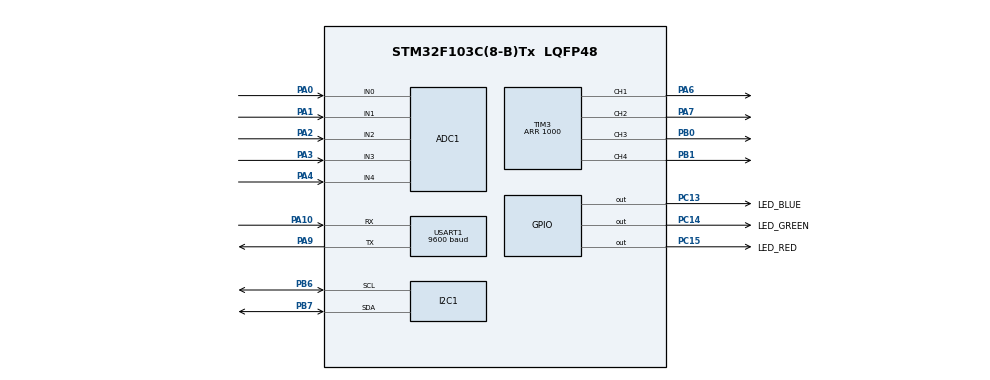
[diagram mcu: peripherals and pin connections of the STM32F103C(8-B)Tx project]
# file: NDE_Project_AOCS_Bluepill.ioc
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ADC1.Channel-0\#ChannelRegularConversion=ADC_CHANNEL_0
ADC1.Channel-1\#ChannelRegularConversion=ADC_CHANNEL_1
ADC1.Channel-2\#ChannelRegularConversion=ADC_CHANNEL_2
ADC1.Channel-3\#ChannelRegularConversion=ADC_CHANNEL_3
ADC1.Channel-4\#ChannelRegularConversion=ADC_CHANNEL_4
ADC1.ContinuousConvMode=DISABLE
ADC1.DataAlign=ADC_DATAALIGN_RIGHT
ADC1.DiscontinuousConvMode=DISABLE
ADC1.NbrOfConversion=5
ADC1.NbrOfConversionFlag=1
ADC1.Rank-0\#ChannelRegularConversion=1
ADC1.Rank-1\#ChannelRegularConversion=2
ADC1.Rank-2\#ChannelRegularConversion=3
ADC1.Rank-3\#ChannelRegularConversion=4
ADC1.Rank-4\#ChannelRegularConversion=5
ADC1.SamplingTime-0\#ChannelRegularConversion=ADC_SAMPLETIME_1CYCLE_5
ADC1.SamplingTime-1\#ChannelRegularConversion=ADC_SAMPLETIME_1CYCLE_5
ADC1.SamplingTime-2\#ChannelRegularConversion=ADC_SAMPLETIME_1CYCLE_5
ADC1.SamplingTime-3\#ChannelRegularConversion=ADC_SAMPLETIME_1CYCLE_5
ADC1.SamplingTime-4\#ChannelRegularConversion=ADC_SAMPLETIME_1CYCLE_5
ADC1.master=1
Dma.ADC1.0.Direction=DMA_PERIPH_TO_MEMORY
Dma.ADC1.0.Instance=DMA1_Channel1
Dma.ADC1.0.MemDataAlignment=DMA_MDATAALIGN_HALFWORD
Dma.ADC1.0.MemInc=DMA_MINC_ENABLE
Dma.ADC1.0.Mode=DMA_CIRCULAR
Dma.ADC1.0.PeriphDataAlignment=DMA_PDATAALIGN_HALFWORD
Dma.ADC1.0.PeriphInc=DMA_PINC_DISABLE
Dma.ADC1.0.Priority=DMA_PRIORITY_LOW
Dma.Request0=ADC1
Mcu.Family=STM32F1
Mcu.Name=STM32F103C(8-B)Tx
Mcu.Package=LQFP48
NVIC.ADC1_2_IRQn=true\:0\:0\:false\:false\:true\:true\:true\:true
NVIC.DMA1_Channel1_IRQn=true\:0\:0\:false\:false\:true\:false\:true\:true
NVIC.PriorityGroup=NVIC_PRIORITYGROUP_4
NVIC.TIM2_IRQn=true\:0\:0\:false\:false\:true\:true\:true\:true
NVIC.USART1_IRQn=true\:0\:0\:false\:false\:true\:true\:true\:true
PA0-WKUP.Signal=ADCx_IN0
PA1.Signal=ADCx_IN1
PA10.Mode=Asynchronous
PA10.Signal=USART1_RX
PA2.Signal=ADCx_IN2
PA3.Signal=ADCx_IN3
PA4.Signal=ADCx_IN4
PA6.Signal=S_TIM3_CH1
PA7.Signal=S_TIM3_CH2
PA9.Mode=Asynchronous
PA9.Signal=USART1_TX
PB0.Signal=S_TIM3_CH3
PB1.Signal=S_TIM3_CH4
PB6.Mode=I2C
PB6.Signal=I2C1_SCL
PB7.Mode=I2C
PB7.Signal=I2C1_SDA
PC13-TAMPER-RTC.GPIO_Label=LED_BLUE
PC13-TAMPER-RTC.Signal=GPIO_Output
PC14-OSC32_IN.GPIO_Label=LED_GREEN
PC14-OSC32_IN.Signal=GPIO_Output
PC15-OSC32_OUT.GPIO_Label=LED_RED
PC15-OSC32_OUT.Signal=GPIO_Output
ProjectManager.HeapSize=0x200
ProjectManager.StackSize=0x400
ProjectManager.TargetToolchain=STM32CubeIDE
RCC.APB1Freq_Value=8000000
RCC.APB2Freq_Value=8000000
SH.ADCx_IN0.0=ADC1_IN0,IN0
SH.ADCx_IN1.0=ADC1_IN1,IN1
SH.ADCx_IN2.0=ADC1_IN2,IN2
SH.ADCx_IN3.0=ADC1_IN3,IN3
SH.ADCx_IN4.0=ADC1_IN4,IN4
SH.S_TIM3_CH1.0=TIM3_CH1,PWM Generation1 CH1
SH.S_TIM3_CH2.0=TIM3_CH2,PWM Generation2 CH2
SH.S_TIM3_CH3.0=TIM3_CH3,PWM Generation3 CH3
SH.S_TIM3_CH4.0=TIM3_CH4,PWM Generation4 CH4
TIM2.Period=1001
TIM2.Prescaler=1000
TIM3.Channel-PWM\ Generation1\ CH1=TIM_CHANNEL_1
TIM3.Channel-PWM\ Generation2\ CH2=TIM_CHANNEL_2
TIM3.Channel-PWM\ Generation3\ CH3=TIM_CHANNEL_3
TIM3.Channel-PWM\ Generation4\ CH4=TIM_CHANNEL_4
TIM3.Period=1000
USART1.BaudRate=9600
USART1.VirtualMode=VM_ASYNC
VP_SYS_VS_ND.Mode=No_Debug
VP_TIM2_VS_ClockSourceINT.Mode=Internal
board=custom

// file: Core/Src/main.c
/* USER CODE BEGIN Header */
/**
  ******************************************************************************
  * @file           : main.c
  * @brief          : Main program body
  ******************************************************************************
  * @attention
  *
  * Copyright (c) 2025 STMicroelectronics.
  * All rights reserved.
  *
  * This software is licensed under terms that can be found in the LICENSE file
  * in the root directory of this software component.
  * If no LICENSE file comes with this software, it is provided AS-IS.
  *
  ******************************************************************************
  */
/* USER CODE END Header */
#include "main.h"

/* USER CODE BEGIN Includes */
#include <stdio.h>
#include <string.h>
#include "MPU6050.h"
#include "Fan_Controller.h"
#include "fan_logic.h" // Petr
/* USER CODE END Includes */

ADC_HandleTypeDef hadc1;
DMA_HandleTypeDef hdma_adc1;

I2C_HandleTypeDef hi2c1;

TIM_HandleTypeDef htim2;
TIM_HandleTypeDef htim3;

UART_HandleTypeDef huart1;

void SystemClock_Config(void);
static void MX_GPIO_Init(void);
static void MX_DMA_Init(void);
static void MX_ADC1_Init(void);
static void MX_I2C1_Init(void);
static void MX_TIM3_Init(void);
static void MX_USART1_UART_Init(void);
static void MX_TIM2_Init(void);
/* USER CODE BEGIN PFP */
float fan_speed_1, fan_speed_2 = 0;

#define ROT_THRESHOLD 7.5

void control_rotation(float desired_rotation, float actual_rotation) {
	// Prepracovat ako PID kontroler, ak to nebude fungovat
	if (actual_rotation-desired_rotation > 7.5) {
		fan_speed_1 = -1000;
		fan_speed_2 = -1000;
		set_fan_speed(fan_speed_1);
		set_fan_speed2(fan_speed_2);
	}else if (actual_rotation-desired_rotation < -7.5){
		fan_speed_1 = 1000;
		fan_speed_2 = 1000;
		set_fan_speed(fan_speed_1);
		set_fan_speed2(fan_speed_2);
	}else{
		fan_speed_1 = 0;
		fan_speed_2 = 0;
		set_fan_speed(fan_speed_1);
		set_fan_speed2(fan_speed_2);
	}
}

// ADC cast
uint16_t readValue1;
uint16_t readValue2;
uint16_t readValue3;
uint16_t readValue4;
uint16_t readValue5;

uint16_t rawValues[5];
void HAL_ADC_ConvCpltCallback(ADC_HandleTypeDef *hadc) {
    if (hadc->Instance == ADC1) {
        readValue1 = rawValues[0];
        readValue2 = rawValues[1];
        readValue3 = rawValues[2];
        readValue4 = rawValues[3];
        readValue5 = rawValues[4];
    }
}

/* USER CODE END PFP */

/* USER CODE BEGIN 0 */
float GyroX, GyroY, GyroZ;
float AccelX, AccelY, AccelZ;
float GyroRoll, GyroPitch, AccelRoll, AccelPitch;
uint32_t ch1_counter_val, ch2_counter_val;

// RX buffer for UART
#define RX_BFR_SIZE 100
char RxBuffer[RX_BFR_SIZE];

uint16_t global_mode = 0; // 0 is stabilization, 1 is light tracking, 2 is rotation
/* USER CODE END 0 */

int main(void)
{

  /* MCU Configuration--------------------------------------------------------*/

  /* Reset of all peripherals, Initializes the Flash interface and the Systick. */
  HAL_Init();

  /* Configure the system clock */
  SystemClock_Config();

  /* Initialize all configured peripherals */
  MX_GPIO_Init();
  MX_DMA_Init();
  MX_ADC1_Init();
  MX_I2C1_Init();
  MX_TIM3_Init();
  MX_USART1_UART_Init();
  MX_TIM2_Init();
  /* USER CODE BEGIN 2 */

  HAL_UARTEx_ReceiveToIdle_IT(&huart1, (uint8_t *) RxBuffer, RX_BFR_SIZE);

  // Set up HC05 bluetooth controller
  printf("Setting up Bluetooth module\n");

  // reset module to original state
  char at_orgl[] = "AT+ORGL\r\n";
  HAL_UART_Transmit_IT(&huart1, (uint8_t*)&at_orgl, strlen(at_orgl));

  // set HC06 module name
  char at_set_name[] = "AT+NAME=NDEProjekt\r\n";
  HAL_UART_Transmit_IT(&huart1, (uint8_t*)&at_set_name, strlen(at_set_name));

  MPU6050_t MPU6050;

  // Initialize MPU6050 (see library sample code)
  while (MPU6050_Init(&hi2c1) == 1){
	  printf("Unable to Init MPU6050\n");
  }
  /* USER CODE END 2 */

  /* Infinite loop */
  /* USER CODE BEGIN WHILE */
  HAL_TIM_PWM_Start(&htim3, TIM_CHANNEL_1);
  HAL_TIM_PWM_Start(&htim3, TIM_CHANNEL_2);
  HAL_TIM_PWM_Start(&htim3, TIM_CHANNEL_3);
  HAL_TIM_PWM_Start(&htim3, TIM_CHANNEL_4);
  init_fan(&(TIM3->CCR1), &(TIM3->CCR2), &(TIM3->CCR3), &(TIM3->CCR4));
  HAL_TIM_Base_Start_IT(&htim2);

  //ch1_counter_val = 0;//(TIM1 -> ARR);
  //ch2_counter_val = 0;

  // calibrate ADC
  HAL_ADCEx_Calibration_Start(&hadc1);
  HAL_Delay(10);
  // end of calibration

  fan_speed_1 = 0;
  fan_speed_2 = 0;
  while (1)
  {

	 HAL_ADC_Start_DMA(&hadc1, (uint16_t *) rawValues, 5);
	 HAL_Delay(10);

    /* USER CODE END WHILE */

    /* USER CODE BEGIN 3 */

	  // MPU6050 reading
	  MPU6050_Read_MPU(&hi2c1, &MPU6050);
	  Calculate_Accel_Values(&MPU6050);
	  Calculate_Gyro_Values(&MPU6050);
	  Get_Accel_Angles(&MPU6050);
	  Get_Gyro_Angles(&MPU6050, 0.01);
	  Comp_Filter_Results(&MPU6050);

	  // Writing results
	  GyroX = MPU6050.Gyro_X;
	  GyroY = MPU6050.Gyro_Y;
	  GyroZ = MPU6050.Gyro_Z;

	  AccelX = MPU6050.Accel_X;
	  AccelY = MPU6050.Accel_Y;
	  AccelZ = MPU6050.Accel_Z;

	  GyroRoll = MPU6050.Gyro_Roll;
	  GyroPitch = MPU6050.Gyro_Pitch;
	  AccelRoll = MPU6050.Accel_Roll;
	  AccelPitch = MPU6050.Accel_Pitch;

	  if (global_mode == 0){
		  control_rotation(0, GyroX);
	  }else if (global_mode == 1){
		  float desired_rotation = 0;
		  light_tracking_logic(rawValues, &desired_rotation);
		  control_rotation(desired_rotation, GyroX);
		  char msg[64];
		  snprintf(msg, sizeof(msg), "Comparison of ADC values: %d, %d, %d, %d, %d\r\n", readValue1, readValue2, readValue3, readValue4, readValue5);

		 // Odeslání přes UART
		 HAL_UART_Transmit(&huart1, (uint8_t*)msg, strlen(msg), HAL_MAX_DELAY);
	  }else if(global_mode == 2){
		  control_rotation(60, GyroX);
	  }
  }
  /* USER CODE END 3 */
}

void SystemClock_Config(void)
{
  RCC_OscInitTypeDef RCC_OscInitStruct = {0};
  RCC_ClkInitTypeDef RCC_ClkInitStruct = {0};
  RCC_PeriphCLKInitTypeDef PeriphClkInit = {0};

  /** Initializes the RCC Oscillators according to the specified parameters
  * in the RCC_OscInitTypeDef structure.
  */
  RCC_OscInitStruct.OscillatorType = RCC_OSCILLATORTYPE_HSI;
  RCC_OscInitStruct.HSIState = RCC_HSI_ON;
  RCC_OscInitStruct.HSICalibrationValue = RCC_HSICALIBRATION_DEFAULT;
  RCC_OscInitStruct.PLL.PLLState = RCC_PLL_NONE;
  if (HAL_RCC_OscConfig(&RCC_OscInitStruct) != HAL_OK)
  {
    Error_Handler();
  }

  /** Initializes the CPU, AHB and APB buses clocks
  */
  RCC_ClkInitStruct.ClockType = RCC_CLOCKTYPE_HCLK|RCC_CLOCKTYPE_SYSCLK
                              |RCC_CLOCKTYPE_PCLK1|RCC_CLOCKTYPE_PCLK2;
  RCC_ClkInitStruct.SYSCLKSource = RCC_SYSCLKSOURCE_HSI;
  RCC_ClkInitStruct.AHBCLKDivider = RCC_SYSCLK_DIV1;
  RCC_ClkInitStruct.APB1CLKDivider = RCC_HCLK_DIV1;
  RCC_ClkInitStruct.APB2CLKDivider = RCC_HCLK_DIV1;

  if (HAL_RCC_ClockConfig(&RCC_ClkInitStruct, FLASH_LATENCY_0) != HAL_OK)
  {
    Error_Handler();
  }
  PeriphClkInit.PeriphClockSelection = RCC_PERIPHCLK_ADC;
  PeriphClkInit.AdcClockSelection = RCC_ADCPCLK2_DIV2;
  if (HAL_RCCEx_PeriphCLKConfig(&PeriphClkInit) != HAL_OK)
  {
    Error_Handler();
  }
}

static void MX_ADC1_Init(void)
{

  ADC_ChannelConfTypeDef sConfig = {0};

  /** Common config
  */
  hadc1.Instance = ADC1;
  hadc1.Init.ScanConvMode = ADC_SCAN_ENABLE;
  hadc1.Init.ContinuousConvMode = DISABLE;
  hadc1.Init.DiscontinuousConvMode = DISABLE;
  hadc1.Init.ExternalTrigConv = ADC_SOFTWARE_START;
  hadc1.Init.DataAlign = ADC_DATAALIGN_RIGHT;
  hadc1.Init.NbrOfConversion = 5;
  if (HAL_ADC_Init(&hadc1) != HAL_OK)
  {
    Error_Handler();
  }

  /** Configure Regular Channel
  */
  sConfig.Channel = ADC_CHANNEL_0;
  sConfig.Rank = ADC_REGULAR_RANK_1;
  sConfig.SamplingTime = ADC_SAMPLETIME_1CYCLE_5;
  if (HAL_ADC_ConfigChannel(&hadc1, &sConfig) != HAL_OK)
  {
    Error_Handler();
  }

  /** Configure Regular Channel
  */
  sConfig.Channel = ADC_CHANNEL_1;
  sConfig.Rank = ADC_REGULAR_RANK_2;
  if (HAL_ADC_ConfigChannel(&hadc1, &sConfig) != HAL_OK)
  {
    Error_Handler();
  }

  /** Configure Regular Channel
  */
  sConfig.Channel = ADC_CHANNEL_2;
  sConfig.Rank = ADC_REGULAR_RANK_3;
  if (HAL_ADC_ConfigChannel(&hadc1, &sConfig) != HAL_OK)
  {
    Error_Handler();
  }

  /** Configure Regular Channel
  */
  sConfig.Channel = ADC_CHANNEL_3;
  sConfig.Rank = ADC_REGULAR_RANK_4;
  if (HAL_ADC_ConfigChannel(&hadc1, &sConfig) != HAL_OK)
  {
    Error_Handler();
  }

  /** Configure Regular Channel
  */
  sConfig.Channel = ADC_CHANNEL_4;
  sConfig.Rank = ADC_REGULAR_RANK_5;
  if (HAL_ADC_ConfigChannel(&hadc1, &sConfig) != HAL_OK)
  {
    Error_Handler();
  }

}

static void MX_I2C1_Init(void)
{

  hi2c1.Instance = I2C1;
  hi2c1.Init.ClockSpeed = 100000;
  hi2c1.Init.DutyCycle = I2C_DUTYCYCLE_2;
  hi2c1.Init.OwnAddress1 = 0;
  hi2c1.Init.AddressingMode = I2C_ADDRESSINGMODE_7BIT;
  hi2c1.Init.DualAddressMode = I2C_DUALADDRESS_DISABLE;
  hi2c1.Init.OwnAddress2 = 0;
  hi2c1.Init.GeneralCallMode = I2C_GENERALCALL_DISABLE;
  hi2c1.Init.NoStretchMode = I2C_NOSTRETCH_DISABLE;
  if (HAL_I2C_Init(&hi2c1) != HAL_OK)
  {
    Error_Handler();
  }

}

static void MX_TIM2_Init(void)
{

  TIM_ClockConfigTypeDef sClockSourceConfig = {0};
  TIM_MasterConfigTypeDef sMasterConfig = {0};

  htim2.Instance = TIM2;
  htim2.Init.Prescaler = 1000;
  htim2.Init.CounterMode = TIM_COUNTERMODE_UP;
  htim2.Init.Period = 1001;
  htim2.Init.ClockDivision = TIM_CLOCKDIVISION_DIV1;
  htim2.Init.AutoReloadPreload = TIM_AUTORELOAD_PRELOAD_DISABLE;
  if (HAL_TIM_Base_Init(&htim2) != HAL_OK)
  {
    Error_Handler();
  }
  sClockSourceConfig.ClockSource = TIM_CLOCKSOURCE_INTERNAL;
  if (HAL_TIM_ConfigClockSource(&htim2, &sClockSourceConfig) != HAL_OK)
  {
    Error_Handler();
  }
  sMasterConfig.MasterOutputTrigger = TIM_TRGO_RESET;
  sMasterConfig.MasterSlaveMode = TIM_MASTERSLAVEMODE_DISABLE;
  if (HAL_TIMEx_MasterConfigSynchronization(&htim2, &sMasterConfig) != HAL_OK)
  {
    Error_Handler();
  }

}

static void MX_TIM3_Init(void)
{

  TIM_MasterConfigTypeDef sMasterConfig = {0};
  TIM_OC_InitTypeDef sConfigOC = {0};

  htim3.Instance = TIM3;
  htim3.Init.Prescaler = 0;
  htim3.Init.CounterMode = TIM_COUNTERMODE_UP;
  htim3.Init.Period = 1000;
  htim3.Init.ClockDivision = TIM_CLOCKDIVISION_DIV1;
  htim3.Init.AutoReloadPreload = TIM_AUTORELOAD_PRELOAD_DISABLE;
  if (HAL_TIM_PWM_Init(&htim3) != HAL_OK)
  {
    Error_Handler();
  }
  sMasterConfig.MasterOutputTrigger = TIM_TRGO_RESET;
  sMasterConfig.MasterSlaveMode = TIM_MASTERSLAVEMODE_DISABLE;
  if (HAL_TIMEx_MasterConfigSynchronization(&htim3, &sMasterConfig) != HAL_OK)
  {
    Error_Handler();
  }
  sConfigOC.OCMode = TIM_OCMODE_PWM1;
  sConfigOC.Pulse = 0;
  sConfigOC.OCPolarity = TIM_OCPOLARITY_HIGH;
  sConfigOC.OCFastMode = TIM_OCFAST_DISABLE;
  if (HAL_TIM_PWM_ConfigChannel(&htim3, &sConfigOC, TIM_CHANNEL_1) != HAL_OK)
  {
    Error_Handler();
  }
  if (HAL_TIM_PWM_ConfigChannel(&htim3, &sConfigOC, TIM_CHANNEL_2) != HAL_OK)
  {
    Error_Handler();
  }
  if (HAL_TIM_PWM_ConfigChannel(&htim3, &sConfigOC, TIM_CHANNEL_3) != HAL_OK)
  {
    Error_Handler();
  }
  if (HAL_TIM_PWM_ConfigChannel(&htim3, &sConfigOC, TIM_CHANNEL_4) != HAL_OK)
  {
    Error_Handler();
  }
  HAL_TIM_MspPostInit(&htim3);

}

static void MX_USART1_UART_Init(void)
{

  huart1.Instance = USART1;
  huart1.Init.BaudRate = 9600;
  huart1.Init.WordLength = UART_WORDLENGTH_8B;
  huart1.Init.StopBits = UART_STOPBITS_1;
  huart1.Init.Parity = UART_PARITY_NONE;
  huart1.Init.Mode = UART_MODE_TX_RX;
  huart1.Init.HwFlowCtl = UART_HWCONTROL_NONE;
  huart1.Init.OverSampling = UART_OVERSAMPLING_16;
  if (HAL_UART_Init(&huart1) != HAL_OK)
  {
    Error_Handler();
  }

}

static void MX_DMA_Init(void)
{

  /* DMA controller clock enable */
  __HAL_RCC_DMA1_CLK_ENABLE();

  /* DMA interrupt init */
  /* DMA1_Channel1_IRQn interrupt configuration */
  HAL_NVIC_SetPriority(DMA1_Channel1_IRQn, 0, 0);
  HAL_NVIC_EnableIRQ(DMA1_Channel1_IRQn);

}

static void MX_GPIO_Init(void)
{
  GPIO_InitTypeDef GPIO_InitStruct = {0};

  /* GPIO Ports Clock Enable */
  __HAL_RCC_GPIOC_CLK_ENABLE();
  __HAL_RCC_GPIOA_CLK_ENABLE();
  __HAL_RCC_GPIOB_CLK_ENABLE();

  /*Configure GPIO pin Output Level */
  HAL_GPIO_WritePin(GPIOC, LED_BLUE_Pin|LED_GREEN_Pin|LED_RED_Pin, GPIO_PIN_RESET);

  /*Configure GPIO pins : LED_BLUE_Pin LED_GREEN_Pin LED_RED_Pin */
  GPIO_InitStruct.Pin = LED_BLUE_Pin|LED_GREEN_Pin|LED_RED_Pin;
  GPIO_InitStruct.Mode = GPIO_MODE_OUTPUT_PP;
  GPIO_InitStruct.Pull = GPIO_NOPULL;
  GPIO_InitStruct.Speed = GPIO_SPEED_FREQ_LOW;
  HAL_GPIO_Init(GPIOC, &GPIO_InitStruct);

}

/* USER CODE BEGIN 4 */
int _write(int file, char *ptr, int len)
{
  (void)file;
  int DataIdx;

  for (DataIdx = 0; DataIdx < len; DataIdx++)
  {
    //__io_putchar(*ptr++);
	  ITM_SendChar(*ptr++);
  }
  return len;
}

void HAL_TIM_PeriodElapsedCallback(TIM_HandleTypeDef* htim)
{
	uint16_t leds[] = {LED_BLUE_Pin, LED_GREEN_Pin, LED_RED_Pin};
	static uint8_t i = 0;
	if (htim == &htim2)
	{
		if (global_mode == 0){
			HAL_GPIO_TogglePin(GPIOC, LED_BLUE_Pin);
			HAL_GPIO_WritePin(GPIOC, LED_GREEN_Pin, GPIO_PIN_RESET);
			HAL_GPIO_WritePin(GPIOC, LED_RED_Pin, GPIO_PIN_RESET);
		}else if (global_mode == 1){
			HAL_GPIO_WritePin(GPIOC, LED_BLUE_Pin, GPIO_PIN_RESET);
			HAL_GPIO_WritePin(GPIOC, LED_RED_Pin, GPIO_PIN_RESET);
			HAL_GPIO_TogglePin(GPIOC, LED_GREEN_Pin);

		}else if (global_mode == 2){
			HAL_GPIO_WritePin(GPIOC, LED_BLUE_Pin, GPIO_PIN_RESET);
			HAL_GPIO_WritePin(GPIOC, LED_GREEN_Pin, GPIO_PIN_RESET);
			HAL_GPIO_TogglePin(GPIOC, LED_RED_Pin);

		}

		/*HAL_GPIO_TogglePin(GPIOC, leds[i]);
		i++;
		if (i>2){
			i=0;
		}*/
	}
}

void HAL_UARTEx_RxEventCallback(UART_HandleTypeDef *huart, uint16_t Size)
{

		/* start the DMA again */
		printf("Size %d\n", Size);
		printf(RxBuffer);
		printf("Received: %s\n", RxBuffer);

		char reply[256];
		snprintf(reply, sizeof(reply), "UART Received text: %s\r\n", RxBuffer);

		HAL_UART_Transmit_IT(&huart1, reply, strlen(reply));
		char* to_send;
		if (strcmp(RxBuffer, "MODE_S\n") == 0){
			global_mode = 0;
			to_send = "setting mode to BASIC mode\r\n";
		}else if(strcmp(RxBuffer, "MODE_L\n") == 0){
			global_mode = 1;
			to_send = "setting mode to light tracking mode\r\n";
		}else if(strcmp(RxBuffer, "MODE_R\n") == 0){
			global_mode = 2;
			to_send = "setting mode to ROTATE mode\r\n";
		}else{
			global_mode = 9;
			to_send = "Unable to decode command: \r\n";
		}

		HAL_UART_Transmit_IT(&huart1, to_send, strlen(to_send));
		//process_command_string(RxBuffer, &global_command, global_args);
		HAL_UARTEx_ReceiveToIdle_IT(&huart1, (uint8_t *) RxBuffer, RX_BFR_SIZE);
		//__HAL_DMA_DISABLE_IT(&hdma_usart1_rx, DMA_IT_HT);

}
/* USER CODE END 4 */

void Error_Handler(void)
{
  __disable_irq();
  while (1)
  {
  }
}
